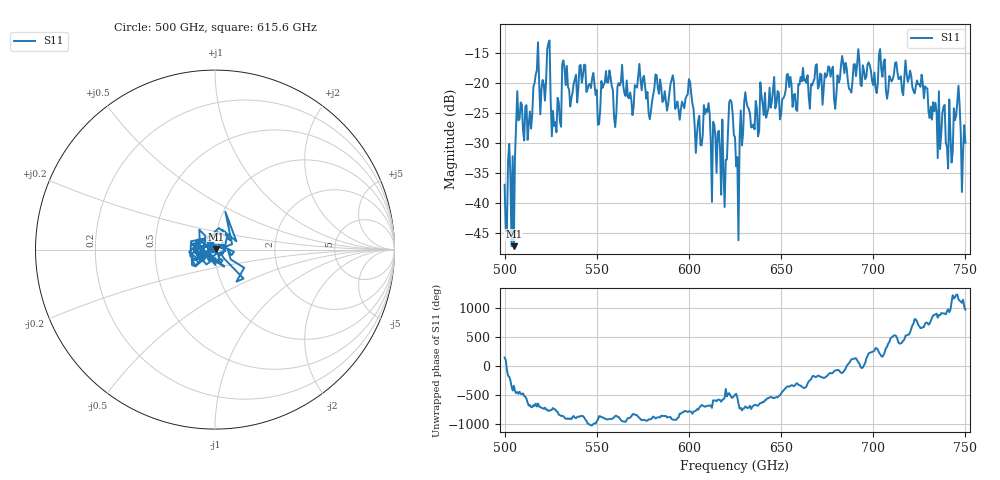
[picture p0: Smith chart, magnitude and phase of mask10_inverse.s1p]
!Created with skrf (http://scikit-rf.org).
# GHz S MA R 50.0
!freq magS11 angS11
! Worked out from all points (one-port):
!   401 points, 500 GHz to 750 GHz, reference 50 ohm
!   lowest |S11| = -47.3 dB at 505 GHz (marker M1), VSWR 1.01, Z = 50.4 + j0.137 ohm
!   |S11| at or under -10 dB: start of sweep to end of sweep
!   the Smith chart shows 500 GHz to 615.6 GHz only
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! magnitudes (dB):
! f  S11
! 500 GHz  -37.0
! 505 GHz  -47.3
! 507.5 GHz  -26.3
! 513.8 GHz  -24.8
! 516.9 GHz  -18.6
! 520.6 GHz  -19.5
! 523.8 GHz  -13.4
! 526.9 GHz  -27.2
! 531.2 GHz  -16.9
! 542.5 GHz  -18.8
! 550.6 GHz  -27.0
! 556.2 GHz  -19.9
! 560 GHz  -27.4
! 562.5 GHz  -20.4
! 593.8 GHz  -23.1
! 605 GHz  -26.3
! 609.4 GHz  -24.4
! 618.8 GHz  -34.8
! 622.5 GHz  -22.8
! 625 GHz  -29.0
! 626.2 GHz  -32.4
! 631.2 GHz  -23.2
! 656.2 GHz  -24.0
! 687.5 GHz  -21.1
! 718.8 GHz  -19.8
! 741.9 GHz  -28.7
! 745.6 GHz  -23.1
! 750 GHz  -30.0
